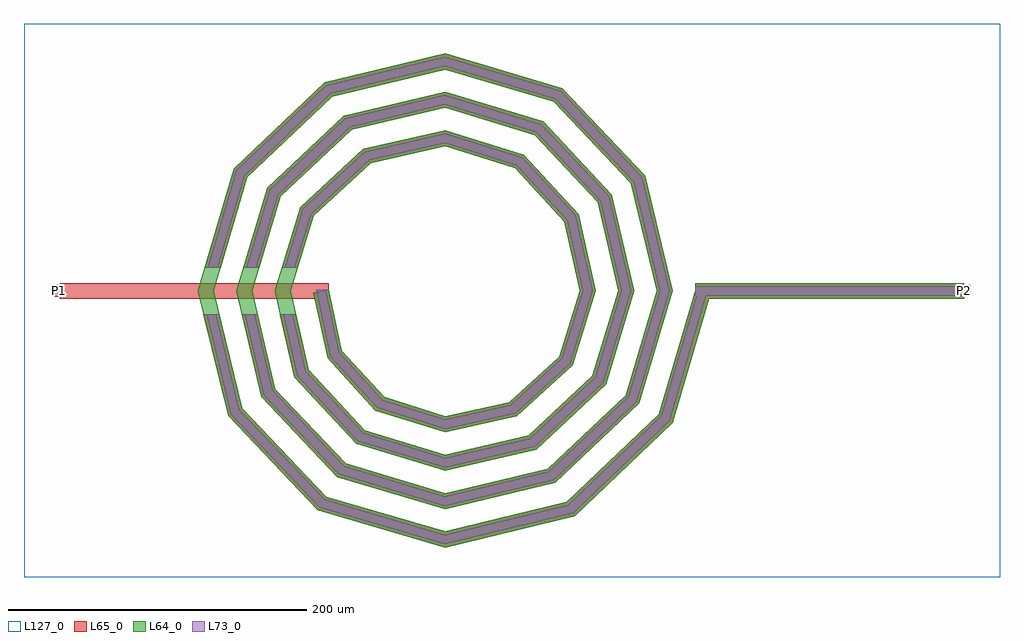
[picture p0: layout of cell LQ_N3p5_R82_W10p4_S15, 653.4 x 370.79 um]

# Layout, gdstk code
import gdstk
lib = gdstk.Library(unit=1e-6, precision=1e-09)
def R(c, l, rs):  # rectangles x0, y0, x1, y1
    for r in rs: c.add(gdstk.rectangle(r[:2], r[2:], *l))
def P(c, l, *ps):  # polygons
    for p in ps: c.add(gdstk.Polygon(p, *l))
L64_0 = (64, 0)
L65_0 = (65, 0)
L73_0 = (73, 0)
L127_0 = (127, 0)

lq_n3p5_r82_w10p4_s15 = lib.new_cell('LQ_N3p5_R82_W10p4_S15')
R(lq_n3p5_r82_w10p4_s15, L64_0, [(167.661,-5.2,347.661,5.2)])
P(lq_n3p5_r82_w10p4_s15, L64_0, [(-68.899,-40.07),(-40.709,-71.002),(0.24,-83.985),(43.266,-74.47),(76.556,-43.934),(90.407,0.224),(80.039,46.464),(47.158,82.11),(0.21,96.83),(-49.664,85.608),(-87.666,50.381),(-103.252,0.198),(-91.176,-52.864),(-53.602,-93.222),(0.187,-109.675),(56.067,-96.743),(98.779,-56.822),(116.097,0.177),(102.31,59.27),(60.041,104.337),(0.168,122.52),(-62.473,107.877),(-109.895,63.26),(-128.942,0.16),(-113.443,-65.678),(-66.478,-115.453),(0.153,-135.365),(68.883,-119.008),(121.012,-69.695),(141.788,0.146),(124.574,72.089),(72.912,126.571),(0.14,148.211),(-75.295,130.139),(-132.13,76.128),(-154.633,0.134),(-135.704,-78.502),(-79.344,-137.69),(0.129,-161.056),(81.709,-141.269),(143.25,-82.56),(167.871,1.462),(177.851,-1.462),(152.446,-88.16),(86.87,-150.719),(0.129,-171.82),(-84.953,-146.881),(-145.159,-83.654),(-165.397,0.134),(-141.316,81.746),(-80.438,139.599),(0.14,158.974),(78.54,135.751),(134.039,77.221),(152.551,0.146),(130.185,-75.334),(74.004,-128.48),(0.153,-146.128),(-72.128,-124.619),(-122.921,-70.787),(-139.705,0.16),(-119.053,68.923),(-67.568,117.363),(0.168,133.282),(65.719,113.486),(111.804,64.349),(126.859,0.177),(107.919,-62.515),(61.13,-106.246),(0.187,-120.436),(-59.312,-102.351),(-100.689,-57.909),(-114.013,0.198),(-96.783,56.111),(-54.687,95.132),(0.21,107.589),(52.91,91.214),(89.576,51.464),(101.166,0.224),(85.643,-49.711),(48.239,-84.021),(0.24,-94.743),(-46.514,-80.072),(-78.467,-45.011),(-88.022,-1.106),(-77.86,1.106)])
R(lq_n3p5_r82_w10p4_s15, L65_0, [(-257.741,-5.2,-77.741,5.2), (167.661,-5.2,347.661,5.2), (-261.741,-4,-253.741,4), (343.661,-4,351.661,4)])
P(lq_n3p5_r82_w10p4_s15, L65_0, [(-135.704,-78.502),(-79.344,-137.69),(0.129,-161.056),(81.709,-141.269),(143.25,-82.56),(167.871,1.462),(177.851,-1.462),(152.446,-88.16),(86.87,-150.719),(0.129,-171.82),(-84.953,-146.881),(-145.159,-83.654),(-161.597,-15.6),(-150.898,-15.6)],
  [(-113.443,-65.678),(-66.478,-115.453),(0.153,-135.365),(68.883,-119.008),(121.012,-69.695),(141.788,0.146),(124.574,72.089),(72.912,126.571),(0.14,148.211),(-75.295,130.139),(-132.13,76.128),(-149.991,15.6),(-160.834,15.6),(-141.316,81.746),(-80.438,139.599),(0.14,158.974),(78.54,135.751),(134.039,77.221),(152.551,0.146),(130.185,-75.334),(74.004,-128.48),(0.153,-146.128),(-72.128,-124.619),(-122.921,-70.787),(-135.977,-15.6),(-125.29,-15.6)],
  [(-91.176,-52.865),(-53.602,-93.222),(0.187,-109.675),(56.067,-96.743),(98.779,-56.822),(116.097,0.177),(102.31,59.27),(60.041,104.337),(0.168,122.52),(-62.474,107.877),(-109.895,63.26),(-124.209,15.6),(-135.068,15.6),(-119.053,68.923),(-67.568,117.363),(0.168,133.282),(65.719,113.486),(111.804,64.349),(126.859,0.177),(107.919,-62.515),(61.13,-106.246),(0.187,-120.436),(-59.312,-102.351),(-100.689,-57.909),(-110.39,-15.6),(-99.72,-15.6)],
  [(-40.709,-71.002),(0.241,-83.985),(43.266,-74.47),(76.556,-43.934),(90.407,0.224),(80.039,46.464),(47.158,82.11),(0.21,96.83),(-49.664,85.608),(-87.666,50.381),(-98.384,15.6),(-109.266,15.6),(-96.783,56.111),(-54.687,95.132),(0.21,107.589),(52.91,91.214),(89.576,51.464),(101.166,0.224),(85.643,-49.711),(48.239,-84.021),(0.241,-94.743),(-46.514,-80.072),(-78.467,-45.011),(-88.022,-1.106),(-77.86,1.106),(-68.899,-40.071)])
R(lq_n3p5_r82_w10p4_s15, L73_0, [(167.661,-3.2,347.661,3.2)])
P(lq_n3p5_r82_w10p4_s15, L73_0, [(-137.522,-79.493),(-80.423,-139.458),(0.08,-163.126),(82.702,-143.086),(145.018,-83.637),(169.79,0.9),(175.932,0.9),(150.678,-87.083),(85.878,-148.901),(0.08,-169.75),(-83.874,-145.114),(-143.341,-82.663),(-159.539,-15.6),(-152.955,-15.6)],
  [(-115.266,-66.661),(-67.564,-117.216),(0.094,-137.435),(69.868,-120.83),(122.776,-70.779),(143.858,0.09),(126.394,73.076),(73.994,128.336),(0.086,150.28),(-76.284,131.958),(-133.897,77.209),(-152.076,15.6),(-158.749,15.6),(-139.55,80.666),(-79.449,137.78),(0.086,156.904),(77.457,133.985),(132.219,76.234),(150.481,0.09),(128.421,-74.249),(73.02,-126.659),(0.094,-144.058),(-71.041,-122.856),(-121.098,-69.804),(-133.922,-15.6),(-127.345,-15.6)],
  [(-93.005,-53.835),(-54.7,-94.978),(0.115,-111.744),(57.04,-98.571),(100.537,-57.917),(118.167,0.109),(104.136,60.247),(61.133,106.096),(0.103,124.589),(-63.453,109.701),(-111.656,64.349),(-126.297,15.6),(-132.98,15.6),(-117.292,67.834),(-66.589,115.538),(0.103,131.212),(64.627,111.727),(109.979,63.373),(124.789,0.109),(106.161,-61.42),(60.156,-104.419),(0.115,-118.366),(-58.214,-100.596),(-98.86,-56.939),(-108.338,-15.6),(-101.772,-15.6)],
  [(-41.825,-72.747),(0.148,-86.054),(44.222,-76.306),(78.303,-45.045),(92.476,0.138),(81.873,47.426),(48.265,83.861),(0.129,98.899),(-50.63,87.44),(-89.419,51.483),(-100.477,15.6),(-107.174,15.6),(-95.029,55.009),(-53.721,93.301),(0.129,105.52),(51.804,89.463),(87.742,50.502),(99.097,0.138),(83.896,-48.6),(47.282,-82.184),(0.148,-92.674),(-45.398,-78.328),(-76.627,-44.061),(-86.068,0.681),(-79.814,0.681),(-70.739,-41.021)])
R(lq_n3p5_r82_w10p4_s15, L127_0, [(-281.741,-191.82,371.661,178.974)])
lq_n3p5_r82_w10p4_s15.add(gdstk.Label('P2', (347.661,0), layer=65, texttype=0))
lq_n3p5_r82_w10p4_s15.add(gdstk.Label('P1', (-257.741,0), layer=65, texttype=0))
lq_n3p5_r82_w10p4_s15.add(gdstk.Label('P2', (351.661,0), layer=145, texttype=0))
lq_n3p5_r82_w10p4_s15.add(gdstk.Label('P1', (-261.741,0), layer=145, texttype=0))

lib.write_gds('LQ_N3p5_R82_W10p4_S15.gds')
